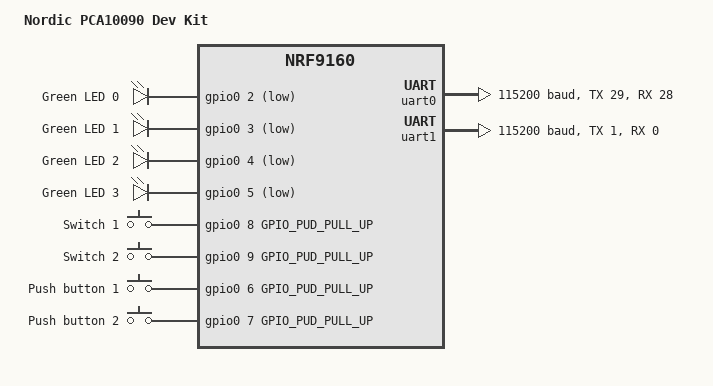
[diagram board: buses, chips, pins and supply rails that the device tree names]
/*
 * Copyright (c) 2017 Linaro Limited
 * Copyright (c) 2018 Nordic Semiconductor ASA
 *
 * SPDX-License-Identifier: Apache-2.0
 */

/dts-v1/;
#include <nordic/nrf9160_xxaa.dtsi>

/ {
	model = "Nordic PCA10090 Dev Kit";
	compatible = "nordic,pca10090-dk", "nordic,nrf9160-xxaa";

	chosen {
		zephyr,console = &uart0;
		zephyr,sram = &sram0;
		zephyr,flash = &flash0;
	};

	aliases {
		led0 = &led0;
		led1 = &led1;
		led2 = &led2;
		led3 = &led3;
		sw0 = &button2;
		sw1 = &button3;
		sw2 = &button0;
		sw3 = &button1;
	};

	leds {
		compatible = "gpio-leds";
		led0: led_0 {
			gpios = <&gpio0 2 GPIO_INT_ACTIVE_LOW>;
			label = "Green LED 0";
		};
		led1: led_1 {
			gpios = <&gpio0 3 GPIO_INT_ACTIVE_LOW>;
			label = "Green LED 1";
		};
		led2: led_2 {
			gpios = <&gpio0 4 GPIO_INT_ACTIVE_LOW>;
			label = "Green LED 2";
		};
		led3: led_3 {
			gpios = <&gpio0 5 GPIO_INT_ACTIVE_LOW>;
			label = "Green LED 3";
		};
	};

	buttons {
		compatible = "gpio-keys";
		#address-cells = <1>;
		#size-cells = <0>;
		button0: button_0 {
			gpios = <&gpio0 8 GPIO_PUD_PULL_UP>;
			label = "Switch 1";
		};
		button1: button_1 {
			gpios = <&gpio0 9 GPIO_PUD_PULL_UP>;
			label = "Switch 2";
		};
		button2: button_2 {
			gpios = <&gpio0 6 GPIO_PUD_PULL_UP>;
			label = "Push button 1";
		};
		button3: button_3 {
			gpios = <&gpio0 7 GPIO_PUD_PULL_UP>;
			label = "Push button 2";
		};
	};

	sram0_bsd: memory@20010000 {
		device_type = "memory";
		compatible = "mmio-sram";
	};
};

&uart0 {
	current-speed = <115200>;
	status = "ok";
	tx-pin = <29>;
	rx-pin = <28>;
	rts-pin = <27>;
	cts-pin = <26>;
};

&uart1 {
	current-speed = <115200>;
	status = "ok";
	tx-pin = <1>;
	rx-pin = <0>;
	rts-pin = <14>;
	cts-pin = <15>;
};

&gpiote {
	status = "ok";
};

&gpio0 {
	status = "ok";
};

&flash0 {
	/*
	 * For more information, see:
	 * http://docs.zephyrproject.org/devices/dts/flash_partitions.html
	 */
	partitions {
		compatible = "fixed-partitions";
		#address-cells = <1>;
		#size-cells = <1>;

		boot_partition: partition@0 {
			label = "mcuboot";
			reg = <0x00000000 0x10000>;
		};
		slot0_partition: partition@10000 {
			label = "image-0";
		};
#if defined(CONFIG_ARM_TRUSTZONE_M)
		slot0_ns_partition: partition@40000 {
			label = "image-0-nonsecure";
		};
#endif
		slot1_partition: partition@80000 {
			label = "image-1";
		};
#if defined(CONFIG_ARM_TRUSTZONE_M)
		slot1_ns_partition: partition@b0000 {
			label = "image-1-nonsecure";
		};
#endif
		scratch_partition: partition@f0000 {
			label = "image-scratch";
			reg = <0x000f0000 0xa000>;
		};

#if defined(CONFIG_FILE_SYSTEM_NFFS)
		nffs_partition: partition@fa000 {
			label = "nffs";
			reg = <0x000fa000 0x00006000>;
		};
#endif
	};
};

#if defined(CONFIG_ARM_TRUSTZONE_M)
/ {
	sram0_ns: memory@20020000 {
		device_type = "memory";
		compatible = "mmio-sram";
	};
};
#endif

/* Include partition configuration file */
#include "nrf9160_pca10090_partition_conf.dts"
